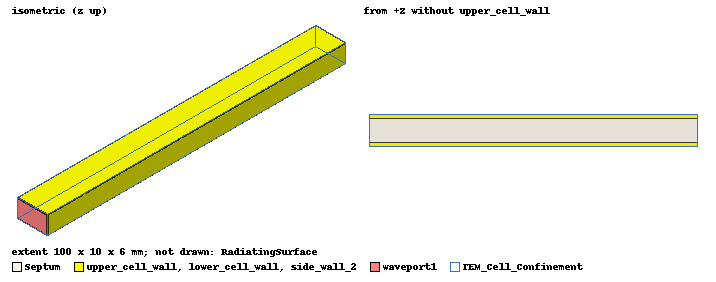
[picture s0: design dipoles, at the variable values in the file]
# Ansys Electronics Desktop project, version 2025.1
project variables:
  $GndPinXxX = 1mm
  $GndPadXxX = 6mm
  $GndPinLength = 1mm
  $PinLength = 1mm
  $AntPadStep = 0.1mm
  $Diameter1 = 1.3mm
  $AntiPadDiameter = 4mm
  $GndPadHigth = 1mm
  $Diameter2 = 4.35mm
  $ConnectorHight = 4.5mm
  $Diameter3 = 5mm
  $freq = 0MHz
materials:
  perfect conductor: conductivity=1e+30
  vacuum: permittivity=1
  pec: conductivity=1e+30

design current_loop (HFSS, HFSS Modal Network, model units mm)
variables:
  b = 3mm  # 17
  w = a*1.5/2  # 27/2
  a = 5mm  # 20
  length = 30mm  # 100
  t = 0.1mm  # 0.1
  antenna_height = 2mm
  current_loop_radius = 0.12mm
  antenna_wire_radius = 0.1mm
  antenna_offset = 0mm
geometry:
  upper_cell_wall = rectangle(corner=(-length/2, -a, b), x_size=length, y_size=2*a)
  lower_cell_wall = upper_cell_wall.duplicate_around_axis(axis=X, angle=180deg, total=2)
  side_wall_1 = rectangle(corner=(-length/2, -a, -b), z_size=2*b, x_size=length)
  side_wall_2 = side_wall_1.duplicate_around_axis(axis=X, angle=180deg, total=2)
  Septum [perfect conductor] = rectangle(corner=(-length/2, -w, (-t/2) mm), x_size=length, y_size=2*w)
  Septum.thicken(t, both sides)
  waveport2 = rectangle(corner=(-length/2, -a, -b), y_size=2*a, z_size=2*b)
  waveport1 = waveport2.duplicate_around_axis(axis=Z, angle=180deg, total=2)
  TEM_Cell_Confinement [vacuum] = box(corner=(-length/2, -a, -b), size=(length, 2*a, 2*b))
  RadiatingSurface [vacuum] = region(absolute_offset: +X=0mm, -X=0mm, +Y=10mm, -Y=10mm, +Z=10mm, -Z=10mm)
  coordinate_system RelativeCS9 = origin=(-75mm, 100mm, -100mm) x=(1mm, 0mm, 0mm) y=(0mm, 1mm, 0mm)
  coordinate_system RelativeCS10 = origin=(0mm, 0mm, -60mm) x=(1mm, 0mm, 0mm) y=(0mm, 1mm, 0mm) in RelativeCS9
  coordinate_system RelativeCS11 = origin=(235mm, 130mm, 0mm) x=(1mm, 0mm, 0mm) y=(0mm, 1mm, 0mm) in RelativeCS10
  coordinate_system RelativeCS12 = origin=(-85mm, -165mm, 110.5mm) x=(1mm, 0mm, 0mm) y=(0mm, 1mm, 0mm) in RelativeCS11
  coordinate_system RelativeCS13 = origin=(-75mm, -65mm, 49.5mm) x=(1mm, 0mm, 0mm) y=(0mm, 1mm, 0mm) in RelativeCS12
  coordinate_system RelativeCS14 = origin=(235mm, 130mm, 0mm) x=(1mm, 0mm, 0mm) y=(0mm, 1mm, 0mm) in RelativeCS13
  coordinate_system RelativeCS15 = origin=(-85mm, -165mm, 110.5mm) x=(1mm, 0mm, 0mm) y=(0mm, 1mm, 0mm) in RelativeCS14
  coordinate_system RelativeCS16 = origin=(1mm, 0.14142136mm, 10.35mm) x=(1mm, 0mm, 0mm) y=(0mm, 1mm, 0mm)
  coordinate_system RelativeCS17 = origin=(-0.1mm, 0mm, 1.65mm) x=(1mm, 0mm, 0mm) y=(0mm, 1mm, 0mm) in RelativeCS16
  coordinate_system RelativeCS18 = origin=(0.1mm, 0mm, 0mm) x=(1mm, 0mm, 0mm) y=(0mm, 1mm, 0mm) in RelativeCS17
  coordinate_system RelativeCS19 = origin=(1.1mm, 0mm, -1.5mm) x=(1mm, 0mm, 0mm) y=(0mm, 1mm, 0mm) in RelativeCS18
  coordinate_system RelativeCS20 = origin=(-1.1mm, 0mm, 1.55mm) x=(1mm, 0mm, 0mm) y=(0mm, 1mm, 0mm) in RelativeCS19
  coordinate_system RelativeCS21 = origin=(-50mm, 0mm, 12mm) x=(1mm, 0mm, 0mm) y=(0mm, 1mm, 0mm)
  point Point1 = (0mm, 0mm, -6mm) in RelativeCS21
  coordinate_system RelativeCS22 = origin=(50mm, 0mm, -12mm) x=(1mm, 0mm, 0mm) y=(0mm, 1mm, 0mm) in RelativeCS21
  coordinate_system RelativeCS31 = origin=(-75mm, 100mm, -100mm) x=(1mm, 0mm, 0mm) y=(0mm, 1mm, 0mm) in RelativeCS22
  coordinate_system RelativeCS32 = origin=(0mm, 0mm, -60mm) x=(1mm, 0mm, 0mm) y=(0mm, 1mm, 0mm) in RelativeCS31
  coordinate_system RelativeCS23 = origin=(235mm, 130mm, 0mm) x=(1mm, 0mm, 0mm) y=(0mm, 1mm, 0mm) in RelativeCS32
  coordinate_system RelativeCS24 = origin=(-85mm, -165mm, 110.5mm) x=(1mm, 0mm, 0mm) y=(0mm, 1mm, 0mm) in RelativeCS23
  coordinate_system RelativeCS25 = origin=(-75mm, -65mm, 49.5mm) x=(1mm, 0mm, 0mm) y=(0mm, 1mm, 0mm) in RelativeCS24
  coordinate_system RelativeCS26 = origin=(235mm, 130mm, 0mm) x=(1mm, 0mm, 0mm) y=(0mm, 1mm, 0mm) in RelativeCS25
  coordinate_system RelativeCS27 = origin=(-85mm, -165mm, 110.5mm) x=(1mm, 0mm, 0mm) y=(0mm, 1mm, 0mm) in RelativeCS26
  coordinate_system RelativeCS28 = origin=(1mm, 0.14142136mm, 10.35mm) x=(1mm, 0mm, 0mm) y=(0mm, 1mm, 0mm) in RelativeCS22
  coordinate_system RelativeCS29 = origin=(-0.1mm, 0mm, 1.65mm) x=(1mm, 0mm, 0mm) y=(0mm, 1mm, 0mm) in RelativeCS28
  coordinate_system RelativeCS30 = origin=(0.1mm, 0mm, 0mm) x=(1mm, 0mm, 0mm) y=(0mm, 1mm, 0mm) in RelativeCS29
  coordinate_system RelativeCS33 = origin=(50mm, 0mm, -0.05005mm) x=(1mm, 0mm, 0mm) y=(0mm, 1mm, 0mm) in RelativeCS22
  coordinate_system RelativeCS34 = origin=(0mm, 0mm, 0.05mm) x=(1mm, 0mm, 0mm) y=(0mm, 1mm, 0mm) in RelativeCS33
  point Point2 = (0mm, 0mm, 6mm) in RelativeCS34
  coordinate_system RelativeCS35 = origin=(-49mm, 0.14142136mm, 12.00005mm) x=(1mm, 0mm, 0mm) y=(0mm, 1mm, 0mm) in RelativeCS34
  coordinate_system RelativeCS36 = origin=(-1mm, -0.14142136mm, 0mm) x=(1mm, 0mm, 0mm) y=(0mm, 1mm, 0mm) in RelativeCS35
  coordinate_system RelativeCS37 = origin=(73mm, -29.6mm, 0mm) x=(1mm, 0mm, 0mm) y=(0mm, 1mm, 0mm) in RelativeCS36
  coordinate_system RelativeCS38 = origin=(-14.8mm, 3.2mm, 0mm) x=(1mm, 0mm, 0mm) y=(0mm, 1mm, 0mm) in RelativeCS37
  coordinate_system RelativeCS39 = origin=(-58.2mm, 26.541421mm, 0.05mm) x=(1mm, 0mm, 0mm) y=(0mm, 1mm, 0mm) in RelativeCS38
  coordinate_system RelativeCS40 = origin=(61.4mm, -27.8mm, 0mm) x=(1mm, 0mm, 0mm) y=(0mm, 1mm, 0mm) in RelativeCS39
  coordinate_system RelativeCS41 = origin=(-61.4mm, 27.8mm, -0.05mm) x=(1mm, 0mm, 0mm) y=(0mm, 1mm, 0mm) in RelativeCS40
  coordinate_system RelativeCS42 = origin=(4mm, 0mm, 0mm) x=(1mm, 0mm, 0mm) y=(0mm, 1mm, 0mm) in RelativeCS41
  coordinate_system RelativeCS43 = origin=(-4mm, 0mm, 0mm) x=(1mm, 0mm, 0mm) y=(0mm, 1mm, 0mm) in RelativeCS42
  coordinate_system RelativeCS44 = origin=((-0.70000000000001+0.7) mm, -0.005mm, 0mm) x=(1mm, 0mm, 0mm) y=(0mm, 1mm, 0mm) in RelativeCS43
  coordinate_system RelativeCS45 = origin=(0mm, -0.13642136mm, -9mm) x=(1mm, 0mm, 0mm) y=(0mm, 1mm, 0mm) in RelativeCS44
  Cylinder1 = cylinder(axis=Z, base_centre=(0mm, 0mm, -0.05mm), radius=0.05mm, height=0.1mm) in RelativeCS45
  upper_cell_wall.subtract(Cylinder1)
  Cylinder2 = cylinder(axis=Z, base_centre=(0mm, 0mm, 0mm), radius=0.025mm, height=-0.4mm) in RelativeCS45
  Antenna [perfect conductor] = Cylinder2.duplicate_along_line(step=(0.4mm, 0mm, 0mm), total=2) in RelativeCS45
  Cylinder3 = cylinder(axis=X, base_centre=(-0.025mm, 0mm, -0.4mm), radius=0.025mm, height=0.45mm) in RelativeCS45
  Antenna.unite(Cylinder2, Cylinder3)
  Cylinder4 = cylinder(axis=Z, base_centre=(0mm, 0mm, 0mm), radius=0.025mm, height=0.3mm) in RelativeCS45
  Circle3 = circle(normal=Z, centre=(0mm, 0mm, 0mm), radius=0.05mm) in RelativeCS45
  Circle3.subtract(Cylinder4)
  pecCap1 [pec] = object_from(Circle3.edge(at (-0.05, 0, 3)))
  pecCap1.thicken(0.01mm)
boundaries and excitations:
  PerfE1: Perfect E Objects=[upper_cell_wall, lower_cell_wall, side_wall_1, side_wall_2]
  Open1: Radiation Objects=RadiatingSurface
  waveport1: Wave Port Objects=waveport1 WavePortType=Modal NumModes=3 Modes{Mode1{CharImp=Zpi} Mode2{CharImp=Zpi} Mode3{CharImp=Zpi}}
  waveport2: Wave Port Objects=waveport2 WavePortType=Modal NumModes=3 Modes{Mode1{CharImp=Zpi} Mode2{CharImp=Zpi} Mode3{CharImp=Zpi}}
  1: Wave Port Objects=Circle3 WavePortType=Modal NumModes=1 Modes{Mode1{CharImp=Zpi RenormImp=50ohm}}
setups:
  Setup1: HfssDriven Frequency=3GHz MaxDeltaS=0.002 MaximumPasses=10 MinimumPasses=1 MinimumConvergedPasses=1 PercentRefinement=30 BasisOrder=1 PortAccuracy=2 DrivenSolverType="Direct Solver"
    sweep Sweep: 1MHz to 20GHz, 401 points; Type=Interpolating InterpTolerance=0.5 InterpMaxSolns=250 InterpUsePortImped=false PassivityErrorTolerance=0.0001
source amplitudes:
  waveport1:1: 1W 0deg
  waveport1:2, waveport1:3, waveport2:1, waveport2:2, waveport2:3, 1:1: 0W 0deg
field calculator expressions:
  Ex = Fundamental_Quantity(0) | ScalarX | CmplxMag
  Ey = Fundamental_Quantity(0) | ScalarY | CmplxMag
  Ez = Fundamental_Quantity(0) | ScalarZ | CmplxMag
  UandI = Complex_Constant(-147.425498730031, 3.91117166145796)
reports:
  Forward Transmission Antenna Waveport: dB(S(waveport1:1,1)) vs Freq on Setup1 : Sweep
  Phase Shift Antenna Waveport: ang_rad(S(waveport1:1,1)), ang_rad(S(waveport2:1,1)) vs Freq on Setup1 : Sweep

design dipoles (HFSS, HFSS Modal Network, model units mm)
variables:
  b = 3mm  # 17
  w = a*1.5/2  # 27/2
  a = 5mm  # 20
  length = 100mm  # 100
  t = 0.1mm  # 0.1
  antenna_height = 2mm
  current_loop_radius = 0.12mm
  antenna_wire_radius = 0.1mm
  antenna_offset = 0mm
  offset_x = 0mm
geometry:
  upper_cell_wall = rectangle(corner=(-length/2, -a, b), x_size=length, y_size=2*a)
  lower_cell_wall = upper_cell_wall.duplicate_around_axis(axis=X, angle=180deg, total=2)
  side_wall_1 = rectangle(corner=(-length/2, -a, -b), z_size=2*b, x_size=length)
  side_wall_2 = side_wall_1.duplicate_around_axis(axis=X, angle=180deg, total=2)
  Septum [perfect conductor] = rectangle(corner=(-length/2, -w, (-t/2) mm), x_size=length, y_size=2*w)
  Septum.thicken(t, both sides)
  waveport2 = rectangle(corner=(-length/2, -a, -b), y_size=2*a, z_size=2*b)
  waveport1 = waveport2.duplicate_around_axis(axis=Z, angle=180deg, total=2)
  TEM_Cell_Confinement [vacuum] = box(corner=(-length/2, -a, -b), size=(length, 2*a, 2*b))
  RadiatingSurface [vacuum] = region(absolute_offset: +X=0mm, -X=0mm, +Y=10mm, -Y=10mm, +Z=10mm, -Z=10mm)
  coordinate_system RelativeCS9 = origin=(-75mm, 100mm, -100mm) x=(1mm, 0mm, 0mm) y=(0mm, 1mm, 0mm)
  coordinate_system RelativeCS10 = origin=(0mm, 0mm, -60mm) x=(1mm, 0mm, 0mm) y=(0mm, 1mm, 0mm) in RelativeCS9
  coordinate_system RelativeCS11 = origin=(235mm, 130mm, 0mm) x=(1mm, 0mm, 0mm) y=(0mm, 1mm, 0mm) in RelativeCS10
  coordinate_system RelativeCS12 = origin=(-85mm, -165mm, 110.5mm) x=(1mm, 0mm, 0mm) y=(0mm, 1mm, 0mm) in RelativeCS11
  coordinate_system RelativeCS13 = origin=(-75mm, -65mm, 49.5mm) x=(1mm, 0mm, 0mm) y=(0mm, 1mm, 0mm) in RelativeCS12
  coordinate_system RelativeCS14 = origin=(235mm, 130mm, 0mm) x=(1mm, 0mm, 0mm) y=(0mm, 1mm, 0mm) in RelativeCS13
  coordinate_system RelativeCS15 = origin=(-85mm, -165mm, 110.5mm) x=(1mm, 0mm, 0mm) y=(0mm, 1mm, 0mm) in RelativeCS14
  coordinate_system RelativeCS16 = origin=(1mm, 0.14142136mm, 10.35mm) x=(1mm, 0mm, 0mm) y=(0mm, 1mm, 0mm)
  coordinate_system RelativeCS17 = origin=(-0.1mm, 0mm, 1.65mm) x=(1mm, 0mm, 0mm) y=(0mm, 1mm, 0mm) in RelativeCS16
  coordinate_system RelativeCS18 = origin=(0.1mm, 0mm, 0mm) x=(1mm, 0mm, 0mm) y=(0mm, 1mm, 0mm) in RelativeCS17
  coordinate_system RelativeCS19 = origin=(1.1mm, 0mm, -1.5mm) x=(1mm, 0mm, 0mm) y=(0mm, 1mm, 0mm) in RelativeCS18
  coordinate_system RelativeCS20 = origin=(-1.1mm, 0mm, 1.55mm) x=(1mm, 0mm, 0mm) y=(0mm, 1mm, 0mm) in RelativeCS19
  coordinate_system RelativeCS21 = origin=(-50mm, 0mm, 12mm) x=(1mm, 0mm, 0mm) y=(0mm, 1mm, 0mm)
  point Point1 = (0mm, 0mm, -6mm) in RelativeCS21
  coordinate_system RelativeCS22 = origin=(50mm, 0mm, -12mm) x=(1mm, 0mm, 0mm) y=(0mm, 1mm, 0mm) in RelativeCS21
  coordinate_system RelativeCS31 = origin=(-75mm, 100mm, -100mm) x=(1mm, 0mm, 0mm) y=(0mm, 1mm, 0mm) in RelativeCS22
  coordinate_system RelativeCS32 = origin=(0mm, 0mm, -60mm) x=(1mm, 0mm, 0mm) y=(0mm, 1mm, 0mm) in RelativeCS31
  coordinate_system RelativeCS23 = origin=(235mm, 130mm, 0mm) x=(1mm, 0mm, 0mm) y=(0mm, 1mm, 0mm) in RelativeCS32
  coordinate_system RelativeCS24 = origin=(-85mm, -165mm, 110.5mm) x=(1mm, 0mm, 0mm) y=(0mm, 1mm, 0mm) in RelativeCS23
  coordinate_system RelativeCS25 = origin=(-75mm, -65mm, 49.5mm) x=(1mm, 0mm, 0mm) y=(0mm, 1mm, 0mm) in RelativeCS24
  coordinate_system RelativeCS26 = origin=(235mm, 130mm, 0mm) x=(1mm, 0mm, 0mm) y=(0mm, 1mm, 0mm) in RelativeCS25
  coordinate_system RelativeCS27 = origin=(-85mm, -165mm, 110.5mm) x=(1mm, 0mm, 0mm) y=(0mm, 1mm, 0mm) in RelativeCS26
  coordinate_system RelativeCS28 = origin=(1mm, 0.14142136mm, 10.35mm) x=(1mm, 0mm, 0mm) y=(0mm, 1mm, 0mm) in RelativeCS22
  coordinate_system RelativeCS29 = origin=(-0.1mm, 0mm, 1.65mm) x=(1mm, 0mm, 0mm) y=(0mm, 1mm, 0mm) in RelativeCS28
  coordinate_system RelativeCS30 = origin=(0.1mm, 0mm, 0mm) x=(1mm, 0mm, 0mm) y=(0mm, 1mm, 0mm) in RelativeCS29
  coordinate_system RelativeCS33 = origin=(50mm, 0mm, -0.05005mm) x=(1mm, 0mm, 0mm) y=(0mm, 1mm, 0mm) in RelativeCS22
  coordinate_system RelativeCS34 = origin=(0mm, 0mm, 0.05mm) x=(1mm, 0mm, 0mm) y=(0mm, 1mm, 0mm) in RelativeCS33
  point Point2 = (0mm, 0mm, 6mm) in RelativeCS34
  coordinate_system RelativeCS35 = origin=(-49mm, 0.14142136mm, 12.00005mm) x=(1mm, 0mm, 0mm) y=(0mm, 1mm, 0mm) in RelativeCS34
  coordinate_system RelativeCS36 = origin=(-1mm, -0.14142136mm, 0mm) x=(1mm, 0mm, 0mm) y=(0mm, 1mm, 0mm) in RelativeCS35
  coordinate_system RelativeCS37 = origin=(73mm, -29.6mm, 0mm) x=(1mm, 0mm, 0mm) y=(0mm, 1mm, 0mm) in RelativeCS36
  coordinate_system RelativeCS38 = origin=(-14.8mm, 3.2mm, 0mm) x=(1mm, 0mm, 0mm) y=(0mm, 1mm, 0mm) in RelativeCS37
  coordinate_system RelativeCS39 = origin=(-58.2mm, 26.541421mm, 0.05mm) x=(1mm, 0mm, 0mm) y=(0mm, 1mm, 0mm) in RelativeCS38
  coordinate_system RelativeCS40 = origin=(61.4mm, -27.8mm, 0mm) x=(1mm, 0mm, 0mm) y=(0mm, 1mm, 0mm) in RelativeCS39
  coordinate_system RelativeCS41 = origin=(-61.4mm, 27.8mm, -0.05mm) x=(1mm, 0mm, 0mm) y=(0mm, 1mm, 0mm) in RelativeCS40
  coordinate_system RelativeCS42 = origin=(4mm, 0mm, 0mm) x=(1mm, 0mm, 0mm) y=(0mm, 1mm, 0mm) in RelativeCS41
  coordinate_system RelativeCS43 = origin=(-4mm, 0mm, 0mm) x=(1mm, 0mm, 0mm) y=(0mm, 1mm, 0mm) in RelativeCS42
  coordinate_system RelativeCS44 = origin=((-0.70000000000001+0.7) mm, -0.005mm, 0mm) x=(1mm, 0mm, 0mm) y=(0mm, 1mm, 0mm) in RelativeCS43
  coordinate_system RelativeCS45 = origin=(0mm, -0.13642136mm, -9mm) x=(1mm, 0mm, 0mm) y=(0mm, 1mm, 0mm) in RelativeCS44
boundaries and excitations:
  PerfE1: Perfect E Objects=[upper_cell_wall, lower_cell_wall, side_wall_1, side_wall_2]
  Open1: Radiation Objects=RadiatingSurface
  ez_dipole: Hertzian-Dipole Incident Wave IsCartesian EoX=0 EoY=0 EoZ=1 kX=0 kY=0 kZ=1 OriginX=offset_x OriginY=0mm OriginZ=1.5mm SphereRadius=0.001mm IsElectricDipole=true
  my_dipole: Hertzian-Dipole Incident Wave IsCartesian EoX=0 EoY=1 EoZ=0 kX=0 kY=0 kZ=1 OriginX=offset_x OriginY=0mm OriginZ=1.5mm SphereRadius=0.001mm IsElectricDipole=false
  waveport1: Wave Port Objects=waveport1 WavePortType=Modal NumModes=3 Modes{Mode1{CharImp=Zpi} Mode2{CharImp=Zpi} Mode3{CharImp=Zpi}}
  waveport2: Wave Port Objects=waveport2 WavePortType=Modal NumModes=3 Modes{Mode1{CharImp=Zpi} Mode2{CharImp=Zpi} Mode3{CharImp=Zpi}}
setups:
  Setup1: HfssDriven Frequency=3GHz MaxDeltaS=0.002 MaximumPasses=10 MinimumPasses=1 MinimumConvergedPasses=1 PercentRefinement=30 BasisOrder=1 PortAccuracy=2 DrivenSolverType="Direct Solver"
    sweep Sweep: 1MHz to 20GHz, 401 points; disabled Type=Interpolating SaveFields InterpTolerance=0.5 InterpMaxSolns=250 InterpUsePortImped=false PassivityErrorTolerance=0.0001
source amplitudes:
  waveport1:1, waveport1:2, waveport1:3, waveport2:1, waveport2:2, waveport2:3: 0W 0deg
  ez_dipole:1: 1 0deg
  my_dipole:1: 1Vm 90deg
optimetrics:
  ParametricSetup1: Parametric Sim._Setups=[Setup1]
    sweep offset_x: LIN 42mm 49.9mm 0.1mm
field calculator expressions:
  output_power = Poynting | Real | Normal | Dot | EnterSurface(waveport1) | SurfaceValue | Integrate
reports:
  S12 Parameter: dB(S(waveport1:2,waveport2:2)), dB(S(waveport1:1,waveport2:1)), dB(S(waveport1:3,waveport2:3)) vs Freq on Setup1 : Sweep
  Port Zo Plot1: re(Zo(waveport1:1)) vs Freq on Setup1 : Sweep
  Output Power: output_power vs Freq on Setup1 : Sweep [Phase=0deg]; markers m1 at 0.001GHz
  Calculator Expressions Plot1: output_power vs offset_x on Setup1 : LastAdaptive [Phase=0deg Freq=3GHz]
  Calculator Expressions Plot2: output_power vs offset_x on Setup1 : LastAdaptive [Phase=0deg Freq=3GHz]; markers MX1 at x=0.043985849

design current_loop_normal (HFSS, HFSS Modal Network, model units mm)
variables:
  b = 3mm  # 17
  w = a*1.5/2  # 27/2
  a = 5mm  # 20
  length = 30mm  # 100
  t = 0.1mm  # 0.1
  antenna_height = 2mm
  current_loop_radius = 0.12mm
  antenna_wire_radius = 0.1mm
  antenna_offset = 0mm
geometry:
  upper_cell_wall = rectangle(corner=(-length/2, -a, b), x_size=length, y_size=2*a)
  lower_cell_wall = upper_cell_wall.duplicate_around_axis(axis=X, angle=180deg, total=2)
  side_wall_1 = rectangle(corner=(-length/2, -a, -b), z_size=2*b, x_size=length)
  side_wall_2 = side_wall_1.duplicate_around_axis(axis=X, angle=180deg, total=2)
  Septum [perfect conductor] = rectangle(corner=(-length/2, -w, (-t/2) mm), x_size=length, y_size=2*w)
  Septum.thicken(t, both sides)
  waveport2 = rectangle(corner=(-length/2, -a, -b), y_size=2*a, z_size=2*b)
  waveport1 = waveport2.duplicate_around_axis(axis=Z, angle=180deg, total=2)
  TEM_Cell_Confinement [vacuum] = box(corner=(-length/2, -a, -b), size=(length, 2*a, 2*b))
  RadiatingSurface [vacuum] = region(absolute_offset: +X=0mm, -X=0mm, +Y=10mm, -Y=10mm, +Z=10mm, -Z=10mm)
  coordinate_system RelativeCS9 = origin=(-75mm, 100mm, -100mm) x=(1mm, 0mm, 0mm) y=(0mm, 1mm, 0mm)
  coordinate_system RelativeCS10 = origin=(0mm, 0mm, -60mm) x=(1mm, 0mm, 0mm) y=(0mm, 1mm, 0mm) in RelativeCS9
  coordinate_system RelativeCS11 = origin=(235mm, 130mm, 0mm) x=(1mm, 0mm, 0mm) y=(0mm, 1mm, 0mm) in RelativeCS10
  coordinate_system RelativeCS12 = origin=(-85mm, -165mm, 110.5mm) x=(1mm, 0mm, 0mm) y=(0mm, 1mm, 0mm) in RelativeCS11
  coordinate_system RelativeCS13 = origin=(-75mm, -65mm, 49.5mm) x=(1mm, 0mm, 0mm) y=(0mm, 1mm, 0mm) in RelativeCS12
  coordinate_system RelativeCS14 = origin=(235mm, 130mm, 0mm) x=(1mm, 0mm, 0mm) y=(0mm, 1mm, 0mm) in RelativeCS13
  coordinate_system RelativeCS15 = origin=(-85mm, -165mm, 110.5mm) x=(1mm, 0mm, 0mm) y=(0mm, 1mm, 0mm) in RelativeCS14
  coordinate_system RelativeCS16 = origin=(1mm, 0.14142136mm, 10.35mm) x=(1mm, 0mm, 0mm) y=(0mm, 1mm, 0mm)
  coordinate_system RelativeCS17 = origin=(-0.1mm, 0mm, 1.65mm) x=(1mm, 0mm, 0mm) y=(0mm, 1mm, 0mm) in RelativeCS16
  coordinate_system RelativeCS18 = origin=(0.1mm, 0mm, 0mm) x=(1mm, 0mm, 0mm) y=(0mm, 1mm, 0mm) in RelativeCS17
  coordinate_system RelativeCS19 = origin=(1.1mm, 0mm, -1.5mm) x=(1mm, 0mm, 0mm) y=(0mm, 1mm, 0mm) in RelativeCS18
  coordinate_system RelativeCS20 = origin=(-1.1mm, 0mm, 1.55mm) x=(1mm, 0mm, 0mm) y=(0mm, 1mm, 0mm) in RelativeCS19
  coordinate_system RelativeCS21 = origin=(-50mm, 0mm, 12mm) x=(1mm, 0mm, 0mm) y=(0mm, 1mm, 0mm)
  point Point1 = (0mm, 0mm, -6mm) in RelativeCS21
  coordinate_system RelativeCS22 = origin=(50mm, 0mm, -12mm) x=(1mm, 0mm, 0mm) y=(0mm, 1mm, 0mm) in RelativeCS21
  coordinate_system RelativeCS31 = origin=(-75mm, 100mm, -100mm) x=(1mm, 0mm, 0mm) y=(0mm, 1mm, 0mm) in RelativeCS22
  coordinate_system RelativeCS32 = origin=(0mm, 0mm, -60mm) x=(1mm, 0mm, 0mm) y=(0mm, 1mm, 0mm) in RelativeCS31
  coordinate_system RelativeCS23 = origin=(235mm, 130mm, 0mm) x=(1mm, 0mm, 0mm) y=(0mm, 1mm, 0mm) in RelativeCS32
  coordinate_system RelativeCS24 = origin=(-85mm, -165mm, 110.5mm) x=(1mm, 0mm, 0mm) y=(0mm, 1mm, 0mm) in RelativeCS23
  coordinate_system RelativeCS25 = origin=(-75mm, -65mm, 49.5mm) x=(1mm, 0mm, 0mm) y=(0mm, 1mm, 0mm) in RelativeCS24
  coordinate_system RelativeCS26 = origin=(235mm, 130mm, 0mm) x=(1mm, 0mm, 0mm) y=(0mm, 1mm, 0mm) in RelativeCS25
  coordinate_system RelativeCS27 = origin=(-85mm, -165mm, 110.5mm) x=(1mm, 0mm, 0mm) y=(0mm, 1mm, 0mm) in RelativeCS26
  coordinate_system RelativeCS28 = origin=(1mm, 0.14142136mm, 10.35mm) x=(1mm, 0mm, 0mm) y=(0mm, 1mm, 0mm) in RelativeCS22
  coordinate_system RelativeCS29 = origin=(-0.1mm, 0mm, 1.65mm) x=(1mm, 0mm, 0mm) y=(0mm, 1mm, 0mm) in RelativeCS28
  coordinate_system RelativeCS30 = origin=(0.1mm, 0mm, 0mm) x=(1mm, 0mm, 0mm) y=(0mm, 1mm, 0mm) in RelativeCS29
  coordinate_system RelativeCS33 = origin=(50mm, 0mm, -0.05005mm) x=(1mm, 0mm, 0mm) y=(0mm, 1mm, 0mm) in RelativeCS22
  coordinate_system RelativeCS34 = origin=(0mm, 0mm, 0.05mm) x=(1mm, 0mm, 0mm) y=(0mm, 1mm, 0mm) in RelativeCS33
  point Point2 = (0mm, 0mm, 6mm) in RelativeCS34
  coordinate_system RelativeCS35 = origin=(-49mm, 0.14142136mm, 12.00005mm) x=(1mm, 0mm, 0mm) y=(0mm, 1mm, 0mm) in RelativeCS34
  coordinate_system RelativeCS36 = origin=(-1mm, -0.14142136mm, 0mm) x=(1mm, 0mm, 0mm) y=(0mm, 1mm, 0mm) in RelativeCS35
  coordinate_system RelativeCS37 = origin=(73mm, -29.6mm, 0mm) x=(1mm, 0mm, 0mm) y=(0mm, 1mm, 0mm) in RelativeCS36
  coordinate_system RelativeCS38 = origin=(-14.8mm, 3.2mm, 0mm) x=(1mm, 0mm, 0mm) y=(0mm, 1mm, 0mm) in RelativeCS37
  coordinate_system RelativeCS39 = origin=(-58.2mm, 26.541421mm, 0.05mm) x=(1mm, 0mm, 0mm) y=(0mm, 1mm, 0mm) in RelativeCS38
  coordinate_system RelativeCS40 = origin=(61.4mm, -27.8mm, 0mm) x=(1mm, 0mm, 0mm) y=(0mm, 1mm, 0mm) in RelativeCS39
  coordinate_system RelativeCS41 = origin=(-61.4mm, 27.8mm, -0.05mm) x=(1mm, 0mm, 0mm) y=(0mm, 1mm, 0mm) in RelativeCS40
  coordinate_system RelativeCS42 = origin=(4mm, 0mm, 0mm) x=(1mm, 0mm, 0mm) y=(0mm, 1mm, 0mm) in RelativeCS41
  coordinate_system RelativeCS43 = origin=(-4mm, 0mm, 0mm) x=(1mm, 0mm, 0mm) y=(0mm, 1mm, 0mm) in RelativeCS42
  coordinate_system RelativeCS44 = origin=((-0.70000000000001+0.7) mm, -0.005mm, 0mm) x=(1mm, 0mm, 0mm) y=(0mm, 1mm, 0mm) in RelativeCS43
  coordinate_system RelativeCS45 = origin=(0mm, -0.13642136mm, -9mm) x=(1mm, 0mm, 0mm) y=(0mm, 1mm, 0mm) in RelativeCS44
  Cylinder1 = cylinder(axis=Z, base_centre=(0mm, 0mm, -0.05mm), radius=0.2mm, height=0.1mm) in RelativeCS45
  upper_cell_wall.subtract(Cylinder1)
  Cylinder2 = cylinder(axis=Z, base_centre=(0mm, 0mm, 0mm), radius=0.025mm, height=-0.4mm) in RelativeCS45
  Antenna [perfect conductor] = Cylinder2.duplicate_along_line(step=(0.4mm, 0mm, 0mm), total=2) in RelativeCS45
  Cylinder3 = cylinder(axis=X, base_centre=(-0.025mm, 0mm, -0.4mm), radius=0.025mm, height=0.45mm) in RelativeCS45
  Antenna.unite(Cylinder2, Cylinder3)
  Cylinder4 = cylinder(axis=Z, base_centre=(0mm, 0mm, 0mm), radius=0.025mm, height=0.3mm) in RelativeCS45
  Circle3 = circle(normal=Z, centre=(0mm, 0mm, 0mm), radius=0.05mm) in RelativeCS45
  Circle3.subtract(Cylinder4)
  pecCap1 [pec] = object_from(Circle3.edge(at (-0.05, 0, 3)))
  pecCap1.thicken(0.01mm)
  [Antenna, pecCap1, Circle3].scale(4, 4, 4) in RelativeCS45
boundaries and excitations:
  PerfE1: Perfect E Objects=[upper_cell_wall, lower_cell_wall, side_wall_1, side_wall_2]
  Open1: Radiation Objects=RadiatingSurface
  waveport1: Wave Port Objects=waveport1 WavePortType=Modal NumModes=3 Modes{Mode1{CharImp=Zpi} Mode2{CharImp=Zpi} Mode3{CharImp=Zpi}}
  waveport2: Wave Port Objects=waveport2 WavePortType=Modal NumModes=3 Modes{Mode1{CharImp=Zpi} Mode2{CharImp=Zpi} Mode3{CharImp=Zpi}}
  1: Wave Port Objects=Circle3 WavePortType=Modal NumModes=1 Modes{Mode1{CharImp=Zpi RenormImp=50ohm}}
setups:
  Setup1: HfssDriven Frequency=3GHz MaxDeltaS=0.002 MaximumPasses=10 MinimumPasses=1 MinimumConvergedPasses=1 PercentRefinement=30 BasisOrder=1 PortAccuracy=2 DrivenSolverType="Direct Solver"
    sweep Sweep: 1MHz to 20GHz, 401 points; Type=Interpolating InterpTolerance=0.5 InterpMaxSolns=250 InterpUsePortImped=false PassivityErrorTolerance=0.0001
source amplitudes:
  waveport1:1: 1W 0deg
  waveport1:2, waveport1:3, waveport2:1, waveport2:2, waveport2:3, 1:1: 0W 0deg
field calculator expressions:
  Ex = Fundamental_Quantity(0) | ScalarX | CmplxMag
  Ey = Fundamental_Quantity(0) | ScalarY | CmplxMag
  Ez = Fundamental_Quantity(0) | ScalarZ | CmplxMag
  UandI = Complex_Constant(-147.425498730031, 3.91117166145796)
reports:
  Forward Transmission Antenna Waveport: dB(S(waveport1:1,1)) vs Freq on Setup1 : Sweep
  Phase Shift Antenna Waveport: ang_rad(S(waveport1:1,1)), ang_rad(S(waveport2:1,1)) vs Freq on Setup1 : Sweep
